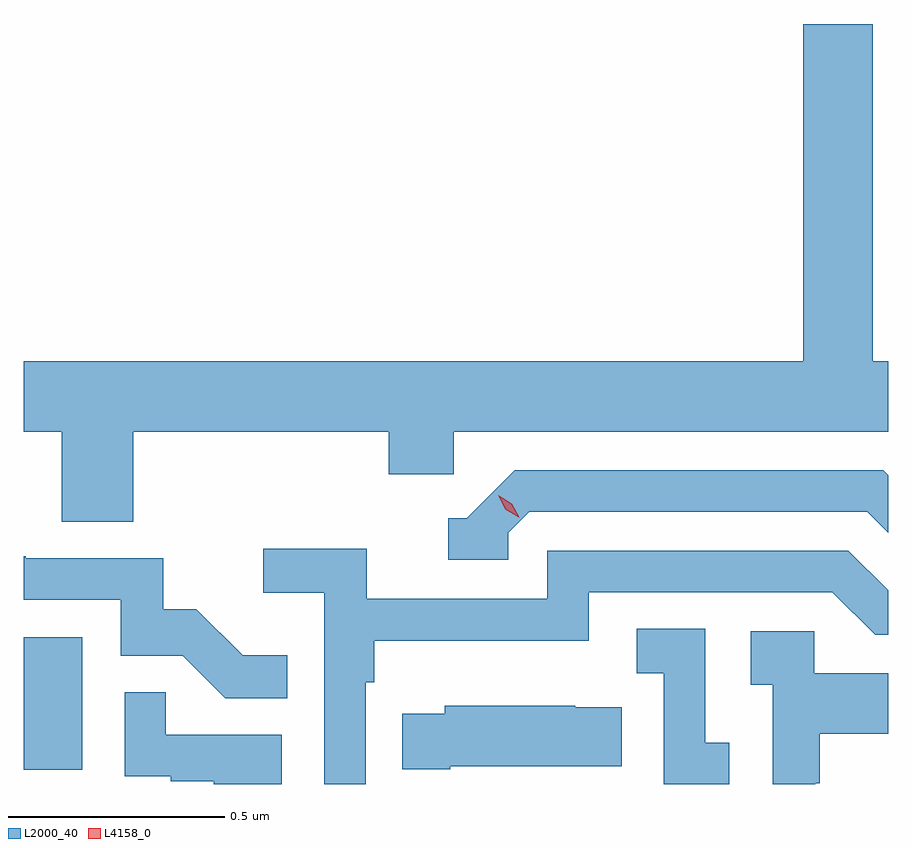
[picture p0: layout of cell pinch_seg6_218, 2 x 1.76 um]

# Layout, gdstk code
import gdstk
lib = gdstk.Library(unit=1e-6, precision=1e-09)
def R(c, l, rs):  # rectangles x0, y0, x1, y1
    for r in rs: c.add(gdstk.rectangle(r[:2], r[2:], *l))
def P(c, l, *ps):  # polygons
    for p in ps: c.add(gdstk.Polygon(p, *l))
L2000_40 = (2000, 40)
L4158_0 = (4158, 0)

pinch_seg6_218 = lib.new_cell('pinch_seg6_218')
R(pinch_seg6_218, L2000_40, [(1046.245,915.918,1046.38,916.225)])
P(pinch_seg6_218, L2000_40, [(1046.498,916.7),(1047.089,916.7),(1047.089,916.602),(1047.24,916.602),(1047.24,916.7),(1048.245,916.7),(1048.245,916.864),(1048.209,916.864),(1048.209,917.644),(1048.049,917.644),(1048.049,916.864),(1046.245,916.864),(1046.245,916.7),(1046.333,916.7),(1046.333,916.492),(1046.498,916.492)],
  [(1047.366,916.467),(1047.414,916.515),(1048.197,916.515),(1048.245,916.467),(1048.245,916.6),(1048.234,916.611),(1047.381,916.611),(1047.27,916.5),(1047.227,916.5),(1047.227,916.404),(1047.366,916.404)],
  [(1047.036,916.121),(1047.056,916.121),(1047.056,916.217),(1047.552,916.217),(1047.552,916.329),(1048.116,916.329),(1048.215,916.23),(1048.245,916.23),(1048.245,916.333),(1048.153,916.425),(1047.456,916.425),(1047.456,916.314),(1047.038,916.314),(1047.038,916.43),(1046.799,916.43),(1046.799,916.328),(1046.94,916.328),(1046.94,915.885),(1047.036,915.885)],
  [(1046.855,916.183),(1046.751,916.183),(1046.644,916.29),(1046.568,916.29),(1046.568,916.407),(1046.249,916.407),(1046.249,916.412),(1046.245,916.412),(1046.245,916.311),(1046.469,916.311),(1046.469,916.182),(1046.613,916.182),(1046.711,916.084),(1046.855,916.084)],
  [(1047.877,915.981),(1047.822,915.981),(1047.822,916.244),(1047.663,916.244),(1047.663,916.141),(1047.726,916.141),(1047.726,915.885),(1047.877,915.885)],
  [(1048.077,915.887),(1048.087,915.887),(1048.087,916.001),(1048.245,916.001),(1048.245,916.141),(1048.074,916.141),(1048.074,916.239),(1047.927,916.239),(1047.927,916.115),(1047.978,916.115),(1047.978,915.885),(1048.077,915.885)],
  [(1046.842,915.999),(1046.573,915.999),(1046.573,916.097),(1046.478,916.097),(1046.478,915.903),(1046.585,915.903),(1046.585,915.891),(1046.684,915.891),(1046.684,915.885),(1046.842,915.885)],
  [(1047.232,915.926),(1047.629,915.926),(1047.629,916.063),(1047.521,916.063),(1047.521,916.066),(1047.219,916.066),(1047.219,916.048),(1047.121,916.048),(1047.121,915.919),(1047.232,915.919)])
P(pinch_seg6_218, L4158_0, [(1047.39,916.502),(1047.359,916.521),(1047.343,916.553),(1047.343,916.553),(1047.343,916.553),(1047.374,916.534),(1047.391,916.502),(1047.391,916.502)])

lib.write_gds('pinch_seg6_218.gds')
